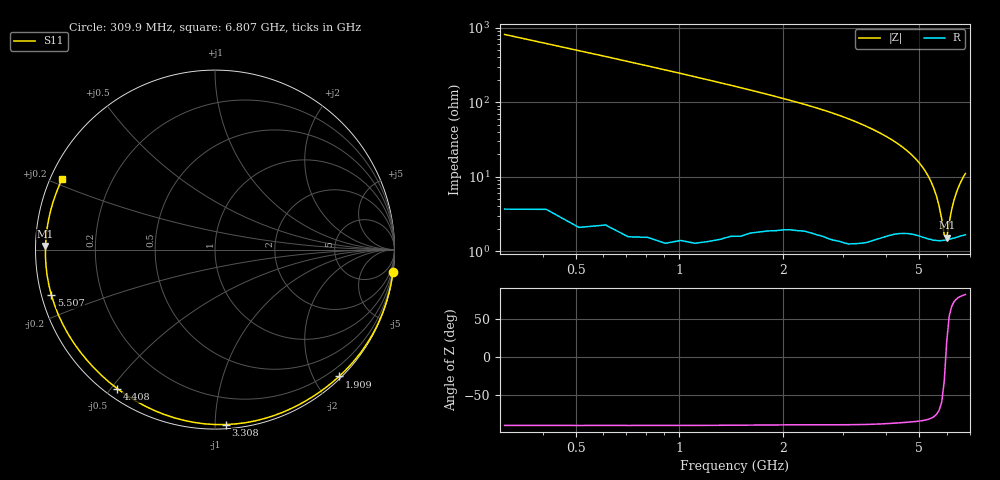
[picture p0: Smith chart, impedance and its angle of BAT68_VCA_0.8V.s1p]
! Infineon Technologies  Discrete & RF Semiconductors
! BAT68
! VCA = 0.8 V
! One-Port S-Parameters
# Hz  S  MA  R  50
!f  S11
!Hz  Mag  Ang
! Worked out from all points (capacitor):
!   66 points, 309.9 MHz to 6.807 GHz, reference 50 ohm
!   read as one part to ground: C = 633 fF near 309.9 MHz
!   lowest |Z| = 1.52 ohm at 6.007 GHz (marker M1)
!   series resonance near 5.969 GHz, so ESL is about 1.1 nH
!   S11 on the Smith chart (normalised r, x): 309.9 MHz: 0, -16; 1.909 GHz: 0.04, -2.38; 3.308 GHz: 0.03, -1.06; 4.408 GHz: 0.03, -0.52; 5.507 GHz: 0.03, -0.14; 6.807 GHz: 0.03, +0.22
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3.0985e8  0.9994 -7.1
5.0975e8  0.9991 -11.7
8.096e8  0.9984 -18.6
1.2094e9  0.9968 -28.1
1.6092e9  0.9926 -38.0
1.90905e9  0.9887 -45.7
2.009e9  0.9871 -48.2
2.30885e9  0.9836 -56.2
2.50875e9  0.9826 -61.7
2.8086e9  0.9814 -70.6
3.10845e9  0.9795 -79.9
3.30835e9  0.9765 -86.5
3.50825e9  0.9727 -93.3
3.6082e9  0.97 -96.7
3.8081e9  0.9642 -103.7
4.008e9  0.9579 -110.7
4.2079e9  0.9517 -117.8
4.4078e9  0.9469 -125.0
4.6077e9  0.9438 -132.1
4.8076e9  0.9426 -139.3
5.0075e9  0.9432 -146.5
5.2074e9  0.9444 -153.7
5.50725e9  0.9464 -164.4
5.70715e9  0.9465 -171.3
6.007e9  0.9446 178.8
6.2069e9  0.9429 172.5
6.4068e9  0.9411 166.5
6.8066e9  0.9385 155.4
